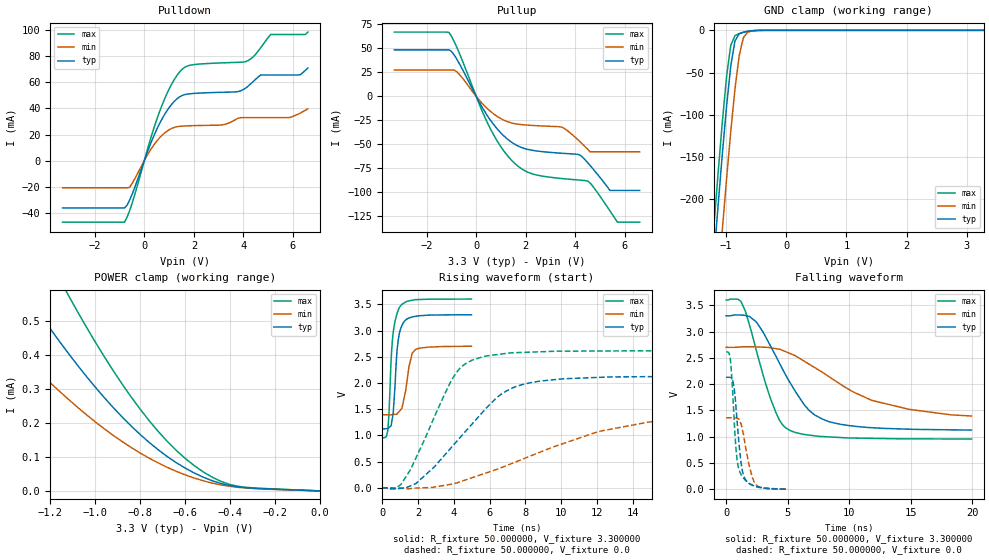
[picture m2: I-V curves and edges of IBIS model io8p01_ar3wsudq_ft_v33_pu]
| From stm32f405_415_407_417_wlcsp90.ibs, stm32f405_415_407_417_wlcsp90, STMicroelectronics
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|   Model io8p01_ar3wsudq_ft_v33_pu
[Model]  io8p01_ar3wsudq_ft_v33_pu
Model_type I/O
Polarity   Non-Inverting
Enable   Active-Low
Vinl =   0.990000V
Vinh =   2.310000V
Vmeas =  1.650000V
Cref =   50.000000pF
Rref =   100.000000M
Vref =   0.0V
C_comp   3.857500pF   3.760500pF   3.941700pF
[Temperature Range]   25.000000   0.125000k   -40.000000
[Pullup Reference]   3.300000V   2.700000V   3.600000V
[Pulldown Reference]   0.0V   0.0V   0.0V
[POWER Clamp Reference]   3.300000V   2.700000V   3.600000V
[GND Clamp Reference]   0.0V   0.0V   0.0V
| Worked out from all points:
|   slope of the pulldown table from 0 to 0.495 V, typ, clamps not added: 20.9 ohm
|   slope of the pullup table from 0 to 0.495 V, typ, clamps not added: 22.6 ohm
|   GND clamp passes 1 mA (typ) near -0.62 V on its own axis
|   POWER clamp passes 1 mA (typ) near -1.88 V on its own axis
|   rising waveform, R_fixture 50.000000, V_fixture 3.300000: 20-80 % time 276ps typ, 397ps min, 273ps max; typ from 1.12 V to 3.3 V
|   rising waveform, R_fixture 50.000000, V_fixture 0.0: 20-80 % time 3.36ns typ, 6.57ns min, 2.12ns max; typ from 0.001 V to 2.13 V
|   falling waveform, R_fixture 50.000000, V_fixture 3.300000: 20-80 % time 3.23ns typ, 6.16ns min, 2.04ns max; typ from 3.3 V to 1.12 V
|   falling waveform, R_fixture 50.000000, V_fixture 0.0: 20-80 % time 516ps typ, 710ps min, 443ps max; typ from 2.13 V to 0.001 V
[Pulldown]
|Voltage   I(typ)   I(min)   I(max)
-3.3V     -36.18mA   -20.77mA   -47.07mA
-800mV    -36.18mA   -20.77mA   -47.07mA
-600mV    -30.5mA    -20.52mA   -38.69mA
700mV     31.4mA     19.11mA    41.71mA
1.2V      45.15mA    25.37mA    61.75mA
1.6V      50.35mA    26.5mA     71.06mA
3.1V      52.28mA    27.26mA    74.76mA
4.1V      55.65mA    32.9mA     75.79mA
4.7V      65.5mA     32.9mA     86.49mA
5.1V      65.5mA     32.9mA     96.53mA
6.3V      65.8mA     36.47mA    96.53mA
6.6V      70.85mA    39.68mA    98.34mA
[Pullup]
|Voltage   I(typ)   I(min)   I(max)
-3.3V     48.39mA    27.39mA    66.88mA
-1.1V     48.39mA    27.39mA    66.66mA
-700mV    35.08mA    23.45mA    46.27mA
500mV     -22.06mA   -14mA      -30.03mA
1.5V      -49.1mA    -28.3mA    -68.56mA
2.2V      -56.04mA   -30.32mA   -80.35mA
3.5V      -59.52mA   -32.72mA   -85.91mA
4.2V      -61.52mA   -47.6mA    -87.45mA
4.5V      -69.2mA    -55.14mA   -88.43mA
5.4V      -98.2mA    -57.9mA    -119.4mA
5.7V      -98.2mA    -57.9mA    -131.3mA
6.6V      -98.2mA    -57.9mA    -131.3mA
[GND_clamp]
|Voltage   I(typ)   I(min)   I(max)
-3.3V     -2.333A    -2.407A    -2.313A
-1.2V     -270.2mA   -361.4mA   -232.1mA
-1.13V    -207.3mA   -298.1mA   -169mA
-1.06V    -146.7mA   -236.2mA   -108.8mA
-990mV    -90.18mA   -176.4mA   -54.96mA
-920mV    -42.21mA   -120mA     -17.68mA
-850mV    -12.57mA   -69.47mA   -6.265mA
-780mV    -3.971mA   -30.01mA   -3.886mA
-710mV    -2.1mA     -8.615mA   -2.382mA
-640mV    -1.148mA   -2.283mA   -1.22mA
-570mV    -524uA     -821.5uA   -476.8uA
3.28V     0A         0A         0A
[POWER_clamp]
|Voltage   I(typ)   I(min)   I(max)
-3.28V    1.18mA     571.5uA    1.791mA
-3.08V    1.154mA    558.1uA    1.753mA
-1.84V    973.4uA    557.7uA    1.433mA
-1.32V    593.1uA    370.2uA    831.6uA
-1.28V    553.9uA    355.9uA    778.7uA
-1.12V    406uA      270.4uA    577.3uA
-960mV    275.2uA    183.2uA    395.9uA
-800mV    166.2uA    111.7uA    240.7uA
-680mV    101.4uA    69.6uA     146.3uA
-560mV    53.02uA    38.04uA    74.62uA
-360mV    11.49uA    10.29uA    13.1uA
0V        0A         0A         0A
[Ramp]
| variable   typ   min   max
dV/dt_r  1.27741/3.36341n   0.80073/6.63752n   1.56664/2.11610n
dV/dt_f  1.30176/3.23425n   0.74178/6.20055n   1.58714/2.03718n
R_load = 50.000000
[Rising Waveform]
R_fixture= 50.000000
V_fixture= 3.300000
V_fixture_min= 2.700000
V_fixture_max= 3.600000
|time   V(typ)   V(min)   V(max)
0s        1.125V     1.393V     955.5mV
320.3ps   1.133V     1.393V     1.101V
390.4ps   1.152V     1.393V     1.458V
510.5ps   1.201V     1.393V     2.481V
650.7ps   1.58V      1.399V     3.039V
830.8ps   2.598V     1.411V     3.319V
991ps     2.982V     1.472V     3.451V
1.682ns   3.257V     2.571V     3.577V
1.882ns   3.271V     2.644V     3.588V
4.985ns   3.3V       2.7V       3.599V
[Rising Waveform]
R_fixture= 50.000000
V_fixture= 0.0
V_fixture_min= 0.0
V_fixture_max= 0.0
|time   V(typ)   V(min)   V(max)
0s        1.284mV    1.126mV    1.857mV
1.041ns   -6.608mV   -3.2mV     61.37mV
1.882ns   83.11mV    -2.203mV   566.5mV
3.844ns   763.4mV    70.41mV    2.034V
5.045ns   1.228V     198mV      2.438V
6.607ns   1.777V     380.8mV    2.55V
8.208ns   2V         599.3mV    2.587V
12.09ns   2.107V     1.077V     2.61V
14.89ns   2.121V     1.256V     2.612V
19.94ns   2.129V     1.36V      2.612V
[Falling Waveform]
R_fixture= 50.000000
V_fixture= 3.300000
V_fixture_min= 2.700000
V_fixture_max= 3.600000
|time   V(typ)   V(min)   V(max)
0s        3.3V       2.7V       3.599V
1.201ns   3.314V     2.708V     3.574V
2.442ns   3.186V     2.707V     2.648V
3.604ns   2.726V     2.691V     1.724V
4.364ns   2.384V     2.662V     1.301V
5.085ns   2.069V     2.592V     1.132V
6.727ns   1.503V     2.381V     1.03V
8.328ns   1.287V     2.146V     996mV
11.85ns   1.17V      1.69V      967.8mV
19.94ns   1.125V     1.393V     955.5mV
[Falling Waveform]
R_fixture= 50.000000
V_fixture= 0.0
V_fixture_min= 0.0
V_fixture_max= 0.0
|time   V(typ)   V(min)   V(max)
0s        2.129V     1.36V      2.612V
340.3ps   2.126V     1.359V     2.474V
500.5ps   2.083V     1.359V     1.969V
640.6ps   1.941V     1.359V     1.361V
880.9ps   1.322V     1.349V     573.3mV
1.171ns   578.9mV    1.263V     297mV
1.512ns   206.7mV    894.1mV    183.9mV
1.852ns   109.9mV    473.5mV    113.3mV
2.312ns   61.56mV    121.9mV    53.82mV
4.985ns   1.284mV    1.126mV    1.857mV
